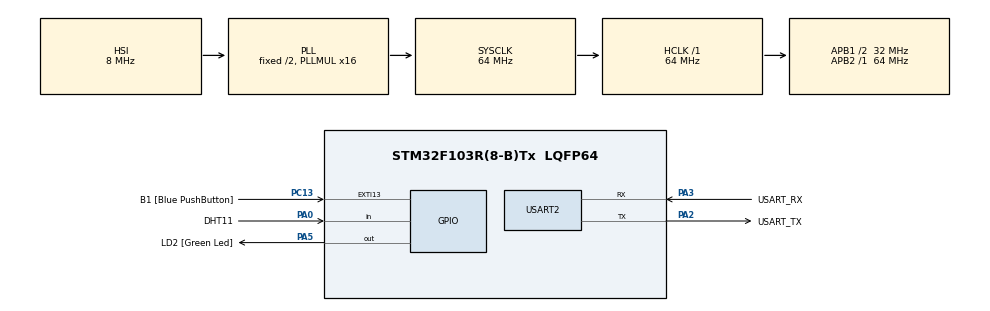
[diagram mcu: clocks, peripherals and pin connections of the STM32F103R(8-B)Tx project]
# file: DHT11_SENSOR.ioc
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Mcu.Family=STM32F1
Mcu.Name=STM32F103R(8-B)Tx
Mcu.Package=LQFP64
NVIC.EXTI15_10_IRQn=true\:0\:0\:false\:false\:true\:true\:true\:true
NVIC.PriorityGroup=NVIC_PRIORITYGROUP_4
PA0-WKUP.GPIO_Label=DHT11
PA0-WKUP.Signal=GPIO_Input
PA13.GPIO_Label=TMS
PA13.Mode=Serial_Wire
PA13.Signal=SYS_JTMS-SWDIO
PA14.GPIO_Label=TCK
PA14.Mode=Serial_Wire
PA14.Signal=SYS_JTCK-SWCLK
PA2.GPIO_Label=USART_TX
PA2.GPIO_Mode=GPIO_MODE_AF_PP
PA2.GPIO_PuPd=GPIO_NOPULL
PA2.GPIO_Speed=GPIO_SPEED_FREQ_LOW
PA2.Mode=Asynchronous
PA2.Signal=USART2_TX
PA3.GPIO_Label=USART_RX
PA3.GPIO_Mode=GPIO_MODE_AF_PP
PA3.GPIO_PuPd=GPIO_NOPULL
PA3.GPIO_Speed=GPIO_SPEED_FREQ_LOW
PA3.Mode=Asynchronous
PA3.Signal=USART2_RX
PA5.GPIO_Label=LD2 [Green Led]
PA5.GPIO_ModeDefaultOutputPP=GPIO_MODE_OUTPUT_PP
PA5.GPIO_PuPd=GPIO_NOPULL
PA5.GPIO_Speed=GPIO_SPEED_FREQ_LOW
PA5.Signal=GPIO_Output
PB3.GPIO_Label=SWO
PB3.Signal=SYS_JTDO-TRACESWO
PC13-TAMPER-RTC.GPIO_Label=B1 [Blue PushButton]
PC13-TAMPER-RTC.GPIO_PuPd=GPIO_NOPULL
PC13-TAMPER-RTC.Signal=GPXTI13
PC14-OSC32_IN.Signal=RCC_OSC32_IN
PC15-OSC32_OUT.Signal=RCC_OSC32_OUT
PD0-OSC_IN.Signal=RCC_OSC_IN
PD1-OSC_OUT.Signal=RCC_OSC_OUT
ProjectManager.HeapSize=0x200
ProjectManager.StackSize=0x400
ProjectManager.TargetToolchain=STM32CubeIDE
RCC.AHBFreq_Value=64000000
RCC.APB1CLKDivider=RCC_HCLK_DIV2
RCC.APB1Freq_Value=32000000
RCC.APB1TimFreq_Value=64000000
RCC.APB2Freq_Value=64000000
RCC.APB2TimFreq_Value=64000000
RCC.HCLKFreq_Value=64000000
RCC.PLLMUL=RCC_PLL_MUL16
RCC.RTCClockSelection=RCC_RTCCLKSOURCE_LSE
RCC.SYSCLKFreq_VALUE=64000000
RCC.SYSCLKSource=RCC_SYSCLKSOURCE_PLLCLK
RCC.USBFreq_Value=64000000
TIM2.Prescaler=64-1
USART2.VirtualMode=VM_ASYNC
VP_TIM2_VS_ClockSourceINT.Mode=Internal
board=NUCLEO-F103RB

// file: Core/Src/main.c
/* USER CODE BEGIN Header */
/**
  ******************************************************************************
  * @file           : main.c
  * @brief          : Main program body
  ******************************************************************************
  * @attention
  *
  * Copyright (c) 2025 STMicroelectronics.
  * All rights reserved.
  *
  * This software is licensed under terms that can be found in the LICENSE file
  * in the root directory of this software component.
  * If no LICENSE file comes with this software, it is provided AS-IS.
  *
  ******************************************************************************
  */
/* USER CODE END Header */
#include "main.h"

/* USER CODE BEGIN Includes */
#include <stdio.h>
#include <string.h>
#include "DHT11.h"
/* USER CODE END Includes */

TIM_HandleTypeDef htim2;

UART_HandleTypeDef huart2;

/* USER CODE BEGIN PV */
DHT11_Data dht11_data;
char buff[100];
/* USER CODE END PV */

void SystemClock_Config(void);
static void MX_GPIO_Init(void);
static void MX_USART2_UART_Init(void);
static void MX_TIM2_Init(void);
/* USER CODE BEGIN PFP */
void DHT11_SetPinOutput(void);
void DHT11_SetPinInput(void);
void DHT11_SetPin(GPIO_PinState state);
GPIO_PinState DHT11_ReadPin(void);
void DHT11_DelayUs(uint32_t us);
uint8_t DHT11_Start(void);
uint8_t DHT11_ReadBit(void);
uint8_t DHT11_ReadByte(void);
uint8_t DHT11_ReadData(DHT11_Data *data);
/* USER CODE END PFP */

/* USER CODE BEGIN 0 */
#ifdef __GNUC__
/* With GCC, small printf (option LD Linker->Libraries->Small printf
   set to 'Yes') calls __io_putchar() */
#define PUTCHAR_PROTOTYPE int __io_putchar(int ch)
#else
#define PUTCHAR_PROTOTYPE int fputc(int ch, FILE *f)
#endif /* __GNUC__ */

/**
  * @brief  Retargets the C library printf function to the USART.
  * @param  None
  * @retval None
  */
PUTCHAR_PROTOTYPE
{
  /* Place your implementation of fputc here */
  /* e.g. write a character to the USART1 and Loop until the end of transmission */
  if (ch == '\n')
    HAL_UART_Transmit (&huart2, (uint8_t*) "\r", 1, 0xFFFF);
  HAL_UART_Transmit (&huart2, (uint8_t*) &ch, 1, 0xFFFF);

  return ch;
}

/* USER CODE END 0 */

int main(void)
{

  /* MCU Configuration--------------------------------------------------------*/

  /* Reset of all peripherals, Initializes the Flash interface and the Systick. */
  HAL_Init();

  /* Configure the system clock */
  SystemClock_Config();

  /* Initialize all configured peripherals */
  MX_GPIO_Init();
  MX_USART2_UART_Init();
  MX_TIM2_Init();
  /* USER CODE BEGIN 2 */
  // 타이머 시작 (마이크로초 단위 지연용)
  HAL_TIM_Base_Start(&htim2);

  // UART 초기화 메시지
  sprintf(buff, "DHT11 Temperature & Humidity Sensor Test\r\n");
  HAL_UART_Transmit(&huart2, (uint8_t*)buff, strlen(buff), HAL_MAX_DELAY);
  /* USER CODE END 2 */

  /* Infinite loop */
  while (1)
  {

    /* USER CODE BEGIN 3 */
	    if (DHT11_ReadData(&dht11_data)) {
	      // 데이터 읽기 성공
	      sprintf(buff, "Temperature: %d°C, Humidity: %d%%\r\n",
	              dht11_data.temperature, dht11_data.humidity);
	      HAL_UART_Transmit(&huart2, (uint8_t*)buff, strlen(buff), HAL_MAX_DELAY);
	    } else {
	      // 데이터 읽기 실패
	      sprintf(buff, "DHT11 Read Error!\r\n");
	      HAL_UART_Transmit(&huart2, (uint8_t*)buff, strlen(buff), HAL_MAX_DELAY);
	    }

	    // 2초 대기 (DHT11은 최소 2초 간격으로 읽어야 함)
	    HAL_Delay(500);
  }
  /* USER CODE END 3 */
}

void SystemClock_Config(void)
{
  RCC_OscInitTypeDef RCC_OscInitStruct = {0};
  RCC_ClkInitTypeDef RCC_ClkInitStruct = {0};

  /** Initializes the RCC Oscillators according to the specified parameters
  * in the RCC_OscInitTypeDef structure.
  */
  RCC_OscInitStruct.OscillatorType = RCC_OSCILLATORTYPE_HSI;
  RCC_OscInitStruct.HSIState = RCC_HSI_ON;
  RCC_OscInitStruct.HSICalibrationValue = RCC_HSICALIBRATION_DEFAULT;
  RCC_OscInitStruct.PLL.PLLState = RCC_PLL_ON;
  RCC_OscInitStruct.PLL.PLLSource = RCC_PLLSOURCE_HSI_DIV2;
  RCC_OscInitStruct.PLL.PLLMUL = RCC_PLL_MUL16;
  if (HAL_RCC_OscConfig(&RCC_OscInitStruct) != HAL_OK)
  {
    Error_Handler();
  }

  /** Initializes the CPU, AHB and APB buses clocks
  */
  RCC_ClkInitStruct.ClockType = RCC_CLOCKTYPE_HCLK|RCC_CLOCKTYPE_SYSCLK
                              |RCC_CLOCKTYPE_PCLK1|RCC_CLOCKTYPE_PCLK2;
  RCC_ClkInitStruct.SYSCLKSource = RCC_SYSCLKSOURCE_PLLCLK;
  RCC_ClkInitStruct.AHBCLKDivider = RCC_SYSCLK_DIV1;
  RCC_ClkInitStruct.APB1CLKDivider = RCC_HCLK_DIV2;
  RCC_ClkInitStruct.APB2CLKDivider = RCC_HCLK_DIV1;

  if (HAL_RCC_ClockConfig(&RCC_ClkInitStruct, FLASH_LATENCY_2) != HAL_OK)
  {
    Error_Handler();
  }
}

static void MX_TIM2_Init(void)
{

  TIM_ClockConfigTypeDef sClockSourceConfig = {0};
  TIM_MasterConfigTypeDef sMasterConfig = {0};

  htim2.Instance = TIM2;
  htim2.Init.Prescaler = 64-1;
  htim2.Init.CounterMode = TIM_COUNTERMODE_UP;
  htim2.Init.Period = 65535;
  htim2.Init.ClockDivision = TIM_CLOCKDIVISION_DIV1;
  htim2.Init.AutoReloadPreload = TIM_AUTORELOAD_PRELOAD_DISABLE;
  if (HAL_TIM_Base_Init(&htim2) != HAL_OK)
  {
    Error_Handler();
  }
  sClockSourceConfig.ClockSource = TIM_CLOCKSOURCE_INTERNAL;
  if (HAL_TIM_ConfigClockSource(&htim2, &sClockSourceConfig) != HAL_OK)
  {
    Error_Handler();
  }
  sMasterConfig.MasterOutputTrigger = TIM_TRGO_RESET;
  sMasterConfig.MasterSlaveMode = TIM_MASTERSLAVEMODE_DISABLE;
  if (HAL_TIMEx_MasterConfigSynchronization(&htim2, &sMasterConfig) != HAL_OK)
  {
    Error_Handler();
  }

}

static void MX_USART2_UART_Init(void)
{

  huart2.Instance = USART2;
  huart2.Init.BaudRate = 115200;
  huart2.Init.WordLength = UART_WORDLENGTH_8B;
  huart2.Init.StopBits = UART_STOPBITS_1;
  huart2.Init.Parity = UART_PARITY_NONE;
  huart2.Init.Mode = UART_MODE_TX_RX;
  huart2.Init.HwFlowCtl = UART_HWCONTROL_NONE;
  huart2.Init.OverSampling = UART_OVERSAMPLING_16;
  if (HAL_UART_Init(&huart2) != HAL_OK)
  {
    Error_Handler();
  }

}

static void MX_GPIO_Init(void)
{
  GPIO_InitTypeDef GPIO_InitStruct = {0};

  /* GPIO Ports Clock Enable */
  __HAL_RCC_GPIOC_CLK_ENABLE();
  __HAL_RCC_GPIOD_CLK_ENABLE();
  __HAL_RCC_GPIOA_CLK_ENABLE();
  __HAL_RCC_GPIOB_CLK_ENABLE();

  /*Configure GPIO pin Output Level */
  HAL_GPIO_WritePin(LD2_GPIO_Port, LD2_Pin, GPIO_PIN_RESET);

  /*Configure GPIO pin : B1_Pin */
  GPIO_InitStruct.Pin = B1_Pin;
  GPIO_InitStruct.Mode = GPIO_MODE_IT_RISING;
  GPIO_InitStruct.Pull = GPIO_NOPULL;
  HAL_GPIO_Init(B1_GPIO_Port, &GPIO_InitStruct);

  /*Configure GPIO pin : DHT11_Pin */
  GPIO_InitStruct.Pin = DHT11_Pin;
  GPIO_InitStruct.Mode = GPIO_MODE_INPUT;
  GPIO_InitStruct.Pull = GPIO_NOPULL;
  HAL_GPIO_Init(DHT11_GPIO_Port, &GPIO_InitStruct);

  /*Configure GPIO pin : LD2_Pin */
  GPIO_InitStruct.Pin = LD2_Pin;
  GPIO_InitStruct.Mode = GPIO_MODE_OUTPUT_PP;
  GPIO_InitStruct.Pull = GPIO_NOPULL;
  GPIO_InitStruct.Speed = GPIO_SPEED_FREQ_LOW;
  HAL_GPIO_Init(LD2_GPIO_Port, &GPIO_InitStruct);

  /* EXTI interrupt init*/
  HAL_NVIC_SetPriority(EXTI15_10_IRQn, 0, 0);
  HAL_NVIC_EnableIRQ(EXTI15_10_IRQn);

}

void Error_Handler(void)
{
  __disable_irq();
  while (1)
  {
  }
}
